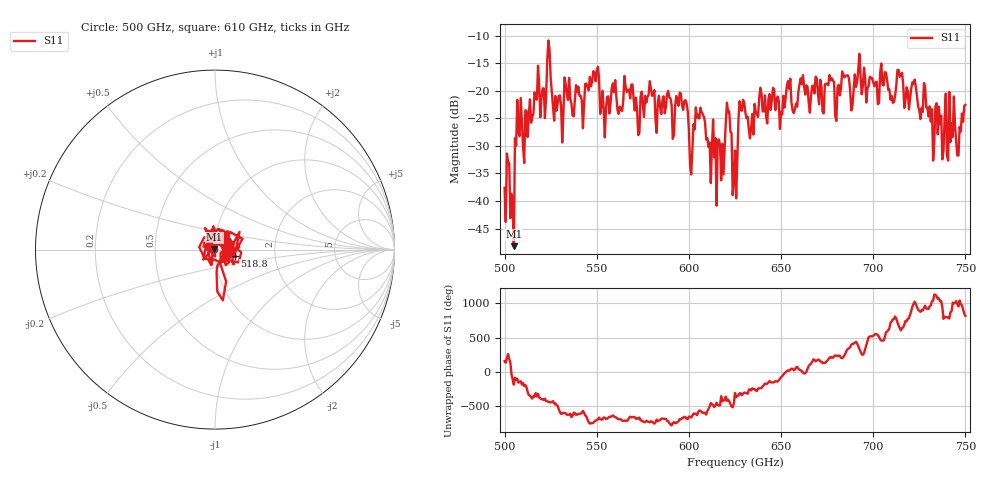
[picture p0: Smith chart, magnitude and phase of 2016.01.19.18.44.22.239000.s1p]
!Created with skrf (http://scikit-rf.org).
# GHz S RI R 50.0
!freq ReS11 ImS11
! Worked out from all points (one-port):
!   401 points, 500 GHz to 750 GHz, reference 50 ohm
!   lowest |S11| = -48.2 dB at 505 GHz (marker M1), VSWR 1.01, Z = 49.6 + j0.0661 ohm
!   |S11| at or under -10 dB: start of sweep to end of sweep
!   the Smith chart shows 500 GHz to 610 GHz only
!   S11 on the Smith chart (normalised r, x): 500 GHz: 0.98, +0.01; 518.8 GHz: 1.24, -0.09; 610 GHz: 0.94, +0.04
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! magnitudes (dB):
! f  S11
! 500 GHz  -37.6
! 505 GHz  -48.2
! 508.1 GHz  -28.2
! 511.2 GHz  -23.5
! 518.8 GHz  -18.8
! 524.4 GHz  -12.6
! 526.9 GHz  -25.4
! 531.2 GHz  -29.4
! 549.4 GHz  -18.3
! 553.1 GHz  -20.0
! 562.5 GHz  -22.9
! 593.8 GHz  -22.1
! 598.1 GHz  -21.7
! 601.2 GHz  -35.2
! 605 GHz  -24.4
! 610 GHz  -28.6
! 616.2 GHz  -28.8
! 621.2 GHz  -23.9
! 625 GHz  -30.8
! 628.8 GHz  -23.6
! 633.8 GHz  -26.7
! 656.2 GHz  -23.6
! 687.5 GHz  -20.1
! 710.6 GHz  -22.2
! 714.4 GHz  -17.5
! 718.8 GHz  -20.0
! 746.2 GHz  -31.7
! 750 GHz  -22.6
